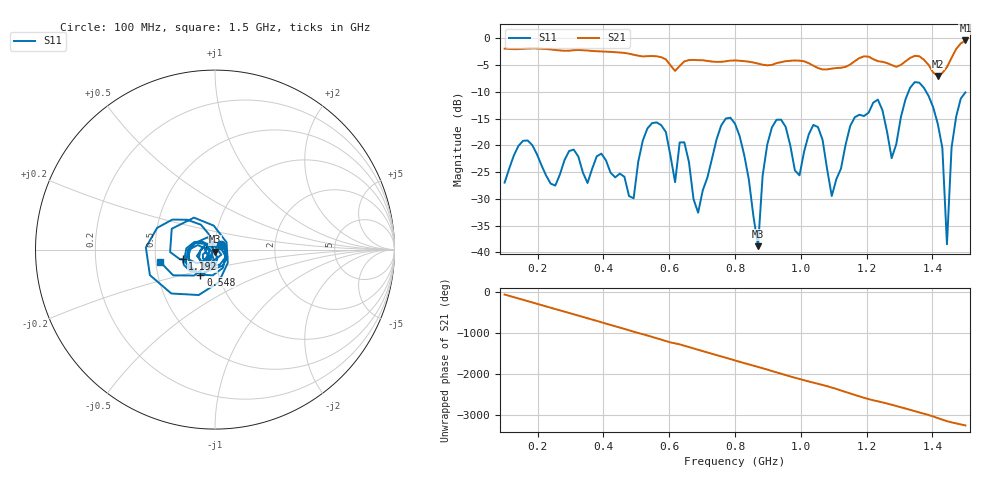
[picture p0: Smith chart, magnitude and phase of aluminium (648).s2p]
! NanoVNA-App
! Date: 2025-09-25 15:00:19
! Start: 100MHz Stop: 1,5GHz Points: 101
! S-Parameter data: F S11 S21 S12 S22
# Hz S RI R 50
!  Frequency  S11_Real  S11_Imag  S21_Real  S21_Imag  S12_Real  S12_Imag  S22_Real  S22_Imag
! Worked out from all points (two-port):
!   101 points, 100 MHz to 1.5 GHz, reference 50 ohm
!   highest |S21| = -0.40 dB at 1.5 GHz (marker M1); lowest = -7.0 dB at 1.416 GHz (marker M2)
!   |S21| within 3 dB of the highest: start of sweep to 565.7 MHz; 1.46 GHz to end of sweep (the widest 2 of 4)
!   lowest |S11| = -38.8 dB at 870 MHz (marker M3), VSWR 1.02, Z = 50.1 - j1.14 ohm
!   |S11| at or under -10 dB: start of sweep to 1.327 GHz; 1.381 GHz to end of sweep
!   S12 and S22 are empty: the file has one direction only
!   S11 on the Smith chart (normalised r, x): 100 MHz: 1.07, +0.06; 548 MHz: 0.82, -0.23; 1.192 GHz: 0.69, -0.08; 1.5 GHz: 0.53, -0.08
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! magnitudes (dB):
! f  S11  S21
! 100 MHz  -27.0  -1.9
! 156 MHz  -19.1  -2.0
! 338 MHz  -25.1  -2.2
! 492 MHz  -29.9  -3.1
! 548 MHz  -15.8  -3.3
! 576 MHz  -16.2  -3.5
! 618 MHz  -26.9  -6.1
! 646 MHz  -19.4  -4.3
! 688 MHz  -32.6  -4.1
! 800 MHz  -15.9  -4.1
! 870 MHz  -38.8  -4.7
! 912 MHz  -16.7  -5.0
! 996 MHz  -25.6  -4.2
! 1.038 GHz  -16.2  -5.1
! 1.094 GHz  -29.5  -5.7
! 1.192 GHz  -14.5  -3.4
! 1.276 GHz  -22.4  -5.0
! 1.346 GHz  -8.2  -3.3
! 1.416 GHz  -15.9  -7.0
! 1.444 GHz  -38.5  -5.4
! 1.458 GHz  -20.4  -3.7
! 1.5 GHz  -10.1  -0.4
